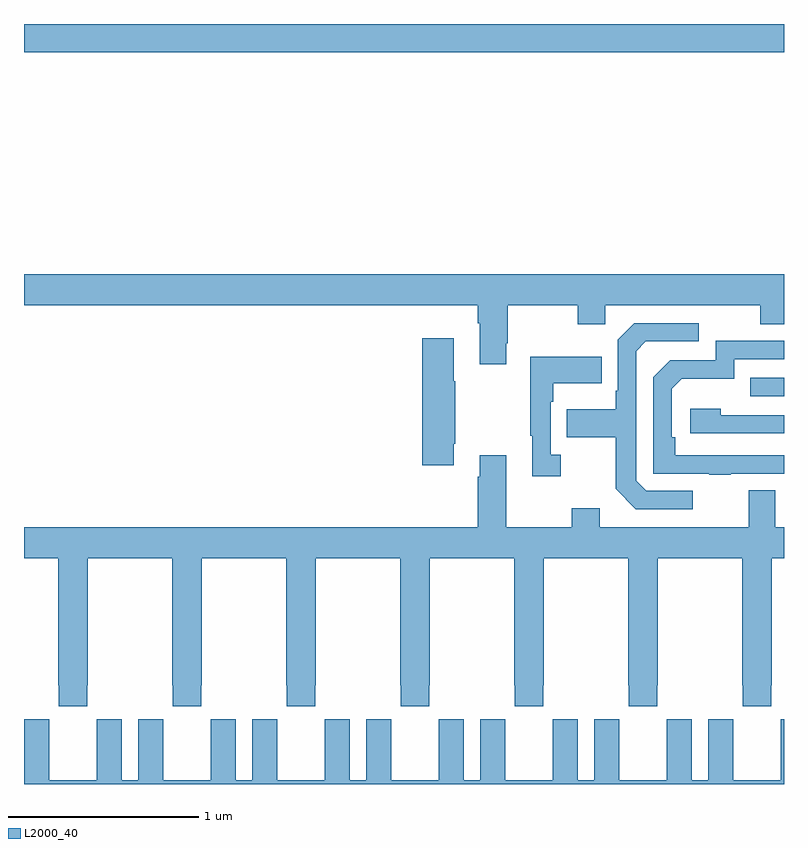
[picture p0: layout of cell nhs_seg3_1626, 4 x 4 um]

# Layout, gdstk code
import gdstk
lib = gdstk.Library(unit=1e-6, precision=1e-09)
def R(c, l, rs):  # rectangles x0, y0, x1, y1
    for r in rs: c.add(gdstk.rectangle(r[:2], r[2:], *l))
def P(c, l, *ps):  # polygons
    for p in ps: c.add(gdstk.Polygon(p, *l))
L2000_40 = (2000, 40)

nhs_seg3_1626 = lib.new_cell('nhs_seg3_1626')
R(nhs_seg3_1626, L2000_40, [(198.823,696.441,199,696.537), (195,698.252,199,698.4)])
P(nhs_seg3_1626, L2000_40, [(197.539,696.721),(197.547,696.721),(197.547,696.92),(197.914,696.92),(197.914,696.821),(198.06,696.821),(198.06,696.92),(198.874,696.92),(198.874,696.821),(199,696.821),(199,697.084),(195,697.084),(195,696.92),(197.387,696.92),(197.387,696.824),(197.399,696.824),(197.399,696.609),(197.539,696.609)],
  [(198.52,695.943),(198.276,695.943),(198.222,695.997),(198.222,696.678),(198.273,696.729),(198.55,696.729),(198.55,696.825),(198.213,696.825),(198.126,696.738),(198.126,696.469),(198.114,696.469),(198.114,696.373),(197.857,696.373),(197.857,696.226),(198.114,696.226),(198.114,695.953),(198.219,695.847),(198.52,695.847)],
  [(197.263,696.19),(197.271,696.19),(197.271,696.521),(197.263,696.521),(197.263,696.745),(197.096,696.745),(197.096,696.078),(197.263,696.078)],
  [(198.719,696.033),(199,696.033),(199,696.129),(198.428,696.129),(198.428,696.226),(198.408,696.226),(198.408,696.48),(198.461,696.533),(198.738,696.533),(198.738,696.636),(199,696.636),(199,696.732),(198.642,696.732),(198.642,696.63),(198.402,696.63),(198.312,696.54),(198.312,696.033),(198.607,696.033),(198.607,696.028),(198.719,696.028)],
  [(197.824,696.134),(197.772,696.134),(197.772,696.413),(197.785,696.413),(197.785,696.509),(198.041,696.509),(198.041,696.649),(197.664,696.649),(197.664,696.233),(197.675,696.233),(197.675,696.021),(197.824,696.021)],
  [(199,696.342),(198.668,696.342),(198.668,696.376),(198.507,696.376),(198.507,696.246),(199,696.246)],
  [(195.333,694.921),(195.336,694.921),(195.336,695.588),(195.781,695.588),(195.781,694.921),(195.783,694.921),(195.783,694.809),(195.933,694.809),(195.933,694.921),(195.936,694.921),(195.936,695.588),(196.381,695.588),(196.381,694.921),(196.383,694.921),(196.383,694.809),(196.533,694.809),(196.533,694.921),(196.536,694.921),(196.536,695.588),(196.981,695.588),(196.981,694.921),(196.983,694.921),(196.983,694.809),(197.133,694.809),(197.133,694.921),(197.136,694.921),(197.136,695.588),(197.581,695.588),(197.581,694.921),(197.583,694.921),(197.583,694.809),(197.733,694.809),(197.733,694.921),(197.736,694.921),(197.736,695.588),(198.181,695.588),(198.181,694.921),(198.183,694.921),(198.183,694.809),(198.333,694.809),(198.333,694.921),(198.336,694.921),(198.336,695.588),(198.781,695.588),(198.781,694.921),(198.783,694.921),(198.783,694.809),(198.933,694.809),(198.933,694.921),(198.936,694.921),(198.936,695.588),(199,695.588),(199,695.752),(198.955,695.752),(198.955,695.947),(198.815,695.947),(198.815,695.752),(198.031,695.752),(198.031,695.851),(197.884,695.851),(197.884,695.752),(197.539,695.752),(197.539,696.13),(197.399,696.13),(197.399,696.017),(197.387,696.017),(197.387,695.752),(195,695.752),(195,695.588),(195.181,695.588),(195.181,694.921),(195.183,694.921),(195.183,694.809),(195.333,694.809)],
  [(199,694.741),(198.984,694.741),(198.984,694.628),(198.983,694.628),(198.983,694.42),(198.733,694.42),(198.733,694.628),(198.732,694.628),(198.732,694.741),(198.602,694.741),(198.602,694.42),(198.514,694.42),(198.514,694.741),(198.384,694.741),(198.384,694.628),(198.383,694.628),(198.383,694.42),(198.133,694.42),(198.133,694.628),(198.132,694.628),(198.132,694.741),(198.002,694.741),(198.002,694.42),(197.914,694.42),(197.914,694.741),(197.784,694.741),(197.784,694.628),(197.783,694.628),(197.783,694.42),(197.533,694.42),(197.533,694.628),(197.532,694.628),(197.532,694.741),(197.402,694.741),(197.402,694.42),(197.314,694.42),(197.314,694.741),(197.184,694.741),(197.184,694.628),(197.183,694.628),(197.183,694.42),(196.933,694.42),(196.933,694.628),(196.932,694.628),(196.932,694.741),(196.802,694.741),(196.802,694.42),(196.714,694.42),(196.714,694.741),(196.584,694.741),(196.584,694.628),(196.583,694.628),(196.583,694.42),(196.333,694.42),(196.333,694.628),(196.332,694.628),(196.332,694.741),(196.202,694.741),(196.202,694.42),(196.114,694.42),(196.114,694.741),(195.984,694.741),(195.984,694.628),(195.983,694.628),(195.983,694.42),(195.733,694.42),(195.733,694.628),(195.732,694.628),(195.732,694.741),(195.602,694.741),(195.602,694.42),(195.514,694.42),(195.514,694.741),(195.384,694.741),(195.384,694.628),(195.383,694.628),(195.383,694.42),(195.133,694.42),(195.133,694.628),(195.132,694.628),(195.132,694.741),(195.002,694.741),(195.002,694.42),(195,694.42),(195,694.4),(199,694.4)])

lib.write_gds('nhs_seg3_1626.gds')
